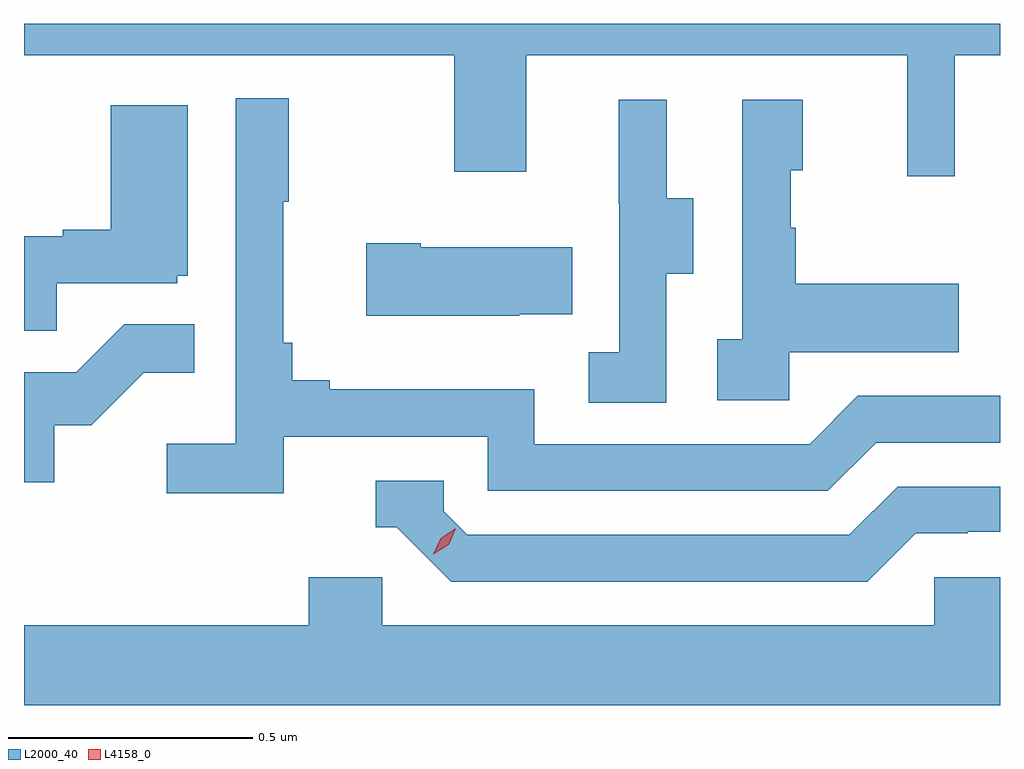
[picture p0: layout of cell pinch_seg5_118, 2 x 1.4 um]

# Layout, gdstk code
import gdstk
lib = gdstk.Library(unit=1e-6, precision=1e-09)
def P(c, l, *ps):  # polygons
    for p in ps: c.add(gdstk.Polygon(p, *l))
L2000_40 = (2000, 40)
L4158_0 = (4158, 0)

pinch_seg5_118 = lib.new_cell('pinch_seg5_118')
P(pinch_seg5_118, L2000_40, [(1047.969,886.064),(1048.062,886.064),(1048.062,886.128),(1046.062,886.128),(1046.062,886.064),(1046.944,886.064),(1046.944,885.825),(1047.091,885.825),(1047.091,886.064),(1047.872,886.064),(1047.872,885.816),(1047.969,885.816)],
  [(1046.594,885.282),(1047.012,885.282),(1047.012,885.171),(1047.709,885.171),(1047.808,885.27),(1048.062,885.27),(1048.062,885.366),(1047.771,885.366),(1047.672,885.267),(1047.108,885.267),(1047.108,885.379),(1046.689,885.379),(1046.689,885.398),(1046.612,885.398),(1046.612,885.475),(1046.593,885.475),(1046.593,885.763),(1046.605,885.763),(1046.605,885.976),(1046.496,885.976),(1046.496,885.268),(1046.355,885.268),(1046.355,885.166),(1046.594,885.166)],
  [(1047.63,885.455),(1047.977,885.455),(1047.977,885.595),(1047.643,885.595),(1047.643,885.71),(1047.633,885.71),(1047.633,885.828),(1047.658,885.828),(1047.658,885.973),(1047.534,885.973),(1047.534,885.482),(1047.483,885.482),(1047.483,885.357),(1047.63,885.357)],
  [(1047.378,885.616),(1047.433,885.616),(1047.433,885.771),(1047.379,885.771),(1047.379,885.973),(1047.281,885.973),(1047.281,885.759),(1047.282,885.759),(1047.282,885.455),(1047.219,885.455),(1047.219,885.352),(1047.378,885.352)],
  [(1046.129,885.597),(1046.376,885.597),(1046.376,885.612),(1046.398,885.612),(1046.398,885.961),(1046.24,885.961),(1046.24,885.706),(1046.141,885.706),(1046.141,885.693),(1046.062,885.693),(1046.062,885.499),(1046.129,885.499)],
  [(1047.077,885.533),(1047.185,885.533),(1047.185,885.67),(1046.875,885.67),(1046.875,885.678),(1046.763,885.678),(1046.763,885.53),(1047.077,885.53)],
  [(1046.124,885.306),(1046.2,885.306),(1046.307,885.413),(1046.411,885.413),(1046.411,885.512),(1046.267,885.512),(1046.169,885.414),(1046.062,885.414),(1046.062,885.189),(1046.124,885.189)],
  [(1047.889,885.084),(1047.996,885.084),(1047.996,885.087),(1048.062,885.087),(1048.062,885.18),(1047.852,885.18),(1047.753,885.081),(1046.97,885.081),(1046.922,885.129),(1046.922,885.192),(1046.783,885.192),(1046.783,885.096),(1046.826,885.096),(1046.937,884.985),(1047.79,884.985)],
  [(1048.062,884.994),(1047.927,884.994),(1047.927,884.896),(1046.796,884.896),(1046.796,884.994),(1046.645,884.994),(1046.645,884.896),(1046.062,884.896),(1046.062,884.732),(1048.062,884.732)])
P(pinch_seg5_118, L4158_0, [(1046.901,885.041),(1046.901,885.041),(1046.916,885.074),(1046.947,885.094),(1046.947,885.094),(1046.947,885.094),(1046.932,885.061),(1046.901,885.041)])

lib.write_gds('pinch_seg5_118.gds')
